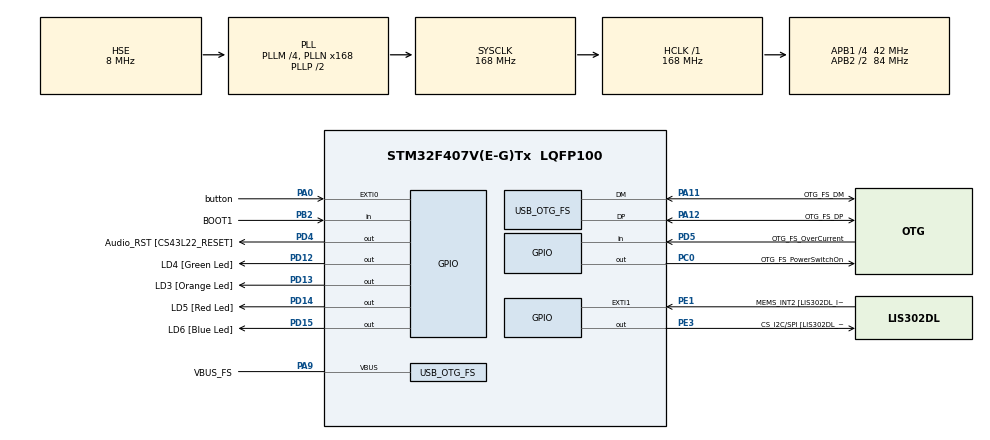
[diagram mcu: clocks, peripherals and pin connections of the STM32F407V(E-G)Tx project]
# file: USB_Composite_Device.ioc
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AL94.I-CUBE-USBD-COMPOSITE.1.0.3.CompositeCcUSBJjCOMPOSITEJjCDCIiACM=true
AL94.I-CUBE-USBD-COMPOSITE.1.0.3.CompositeCcUSBJjCOMPOSITEJjCOMPOSITE=true
AL94.I-CUBE-USBD-COMPOSITE.1.0.3.CompositeCcUSBJjCOMPOSITEJjCore=true
AL94.I-CUBE-USBD-COMPOSITE.1.0.3.CompositeCcUSBJjCOMPOSITEJjHIDIiKEYBOARD=true
AL94.I-CUBE-USBD-COMPOSITE.1.0.3.CompositeCcUSBJjCOMPOSITEJjMSCIiBOT=true
AL94.I-CUBE-USBD-COMPOSITE.1.0.3._USBD_USE_CDC_ACM=true
AL94.I-CUBE-USBD-COMPOSITE.1.0.3._USBD_USE_HID_KEYBOARD=true
AL94.I-CUBE-USBD-COMPOSITE.1.0.3._USBD_USE_MSC=true
AL94.I-CUBE-USBD-COMPOSITE.1.0.3._USBD_USE_PRNTR=false
FATFS._USE_TRIM=1
Mcu.Family=STM32F4
Mcu.Name=STM32F407V(E-G)Tx
Mcu.Package=LQFP100
NVIC.EXTI0_IRQn=true\:0\:0\:false\:false\:true\:true\:true\:true
NVIC.OTG_FS_IRQn=true\:0\:0\:false\:false\:true\:true\:true\:true
NVIC.PriorityGroup=NVIC_PRIORITYGROUP_0
PA0-WKUP.GPIO_Label=button
PA0-WKUP.Signal=GPXTI0
PA10.GPIO_Label=OTG_FS_ID
PA10.GPIO_Mode=GPIO_MODE_AF_PP
PA10.GPIO_PuPd=GPIO_NOPULL
PA10.GPIO_Speed=GPIO_SPEED_FREQ_LOW
PA10.Signal=USB_OTG_FS_ID
PA11.GPIO_Label=OTG_FS_DM
PA11.GPIO_Mode=GPIO_MODE_AF_PP
PA11.GPIO_PuPd=GPIO_NOPULL
PA11.GPIO_Speed=GPIO_SPEED_FREQ_LOW
PA11.Mode=Device_Only
PA11.Signal=USB_OTG_FS_DM
PA12.GPIO_Label=OTG_FS_DP
PA12.GPIO_Mode=GPIO_MODE_AF_PP
PA12.GPIO_PuPd=GPIO_NOPULL
PA12.GPIO_Speed=GPIO_SPEED_FREQ_LOW
PA12.Mode=Device_Only
PA12.Signal=USB_OTG_FS_DP
PA13.GPIO_Label=SWDIO
PA13.Signal=SYS_JTMS-SWDIO
PA14.GPIO_Label=SWCLK
PA14.Signal=SYS_JTCK-SWCLK
PA4.GPIO_Label=I2S3_WS [CS43L22_LRCK]
PA4.GPIO_Mode=GPIO_MODE_AF_PP
PA4.GPIO_PuPd=GPIO_NOPULL
PA4.GPIO_Speed=GPIO_SPEED_FREQ_LOW
PA4.Signal=I2S3_WS
PA5.GPIO_Label=SPI1_SCK [LIS302DL_SCL/SPC]
PA5.GPIO_Mode=GPIO_MODE_AF_PP
PA5.GPIO_PuPd=GPIO_NOPULL
PA5.GPIO_Speed=GPIO_SPEED_FREQ_LOW
PA5.Signal=SPI1_SCK
PA6.GPIO_Label=SPI1_MISO [LIS302DL_SDO]
PA6.GPIO_Mode=GPIO_MODE_AF_PP
PA6.GPIO_PuPd=GPIO_NOPULL
PA6.GPIO_Speed=GPIO_SPEED_FREQ_LOW
PA6.Signal=SPI1_MISO
PA7.GPIO_Label=SPI1_MOSI [LIS302DL_SDA/SDI/SDO]
PA7.GPIO_Mode=GPIO_MODE_AF_PP
PA7.GPIO_PuPd=GPIO_NOPULL
PA7.GPIO_Speed=GPIO_SPEED_FREQ_LOW
PA7.Signal=SPI1_MOSI
PA9.GPIO_Label=VBUS_FS
PA9.GPIO_Mode=GPIO_MODE_INPUT
PA9.GPIO_PuPd=GPIO_NOPULL
PA9.Mode=Activate_VBUS
PA9.Signal=USB_OTG_FS_VBUS
PB10.GPIO_Label=CLK_IN [MP45DT02_CLK]
PB10.GPIO_Mode=GPIO_MODE_AF_PP
PB10.GPIO_PuPd=GPIO_NOPULL
PB10.GPIO_Speed=GPIO_SPEED_FREQ_LOW
PB10.Signal=I2S2_CK
PB2.GPIO_Label=BOOT1
PB2.GPIO_Mode=GPIO_MODE_INPUT
PB2.GPIO_PuPd=GPIO_NOPULL
PB2.Signal=GPIO_Input
PB3.GPIO_Label=SWO
PB3.Signal=SYS_JTDO-SWO
PB6.GPIO_Label=Audio_SCL [CS43L22_SCL]
PB6.GPIO_Mode=GPIO_MODE_AF_OD
PB6.GPIO_PuPd=GPIO_NOPULL
PB6.GPIO_Speed=GPIO_SPEED_FREQ_LOW
PB6.Signal=I2C1_SCL
PB9.GPIO_Label=Audio_SDA [CS43L22_SDA]
PB9.GPIO_Mode=GPIO_MODE_AF_OD
PB9.GPIO_PuPd=GPIO_NOPULL
PB9.GPIO_Speed=GPIO_SPEED_FREQ_LOW
PB9.Signal=I2C1_SDA
PC0.GPIO_Label=OTG_FS_PowerSwitchOn
PC0.GPIO_PuPd=GPIO_NOPULL
PC0.GPIO_Speed=GPIO_SPEED_FREQ_LOW
PC0.PinState=GPIO_PIN_SET
PC0.Signal=GPIO_Output
PC10.GPIO_Label=I2S3_SCK [CS43L22_SCLK]
PC10.GPIO_Mode=GPIO_MODE_AF_PP
PC10.GPIO_PuPd=GPIO_NOPULL
PC10.GPIO_Speed=GPIO_SPEED_FREQ_LOW
PC10.Signal=I2S3_CK
PC12.GPIO_Label=I2S3_SD [CS43L22_SDIN]
PC12.GPIO_Mode=GPIO_MODE_AF_PP
PC12.GPIO_PuPd=GPIO_NOPULL
PC12.GPIO_Speed=GPIO_SPEED_FREQ_LOW
PC12.Signal=I2S3_SD
PC14-OSC32_IN.GPIO_Label=PC14-OSC32_IN
PC14-OSC32_IN.Signal=RCC_OSC32_IN
PC15-OSC32_OUT.GPIO_Label=PC15-OSC32_OUT
PC15-OSC32_OUT.Signal=RCC_OSC32_OUT
PC3.GPIO_Label=PDM_OUT [MP45DT02_DOUT]
PC3.GPIO_Mode=GPIO_MODE_AF_PP
PC3.GPIO_PuPd=GPIO_NOPULL
PC3.GPIO_Speed=GPIO_SPEED_FREQ_LOW
PC3.Signal=I2S2_SD
PC7.GPIO_Label=I2S3_MCK [CS43L22_MCLK]
PC7.GPIO_Mode=GPIO_MODE_AF_PP
PC7.GPIO_PuPd=GPIO_NOPULL
PC7.GPIO_Speed=GPIO_SPEED_FREQ_LOW
PC7.Signal=I2S3_MCK
PD12.GPIO_Label=LD4 [Green Led]
PD12.GPIO_PuPd=GPIO_NOPULL
PD12.GPIO_Speed=GPIO_SPEED_FREQ_LOW
PD12.Signal=GPIO_Output
PD13.GPIO_Label=LD3 [Orange Led]
PD13.GPIO_PuPd=GPIO_NOPULL
PD13.GPIO_Speed=GPIO_SPEED_FREQ_LOW
PD13.Signal=GPIO_Output
PD14.GPIO_Label=LD5 [Red Led]
PD14.GPIO_PuPd=GPIO_NOPULL
PD14.GPIO_Speed=GPIO_SPEED_FREQ_LOW
PD14.Signal=GPIO_Output
PD15.GPIO_Label=LD6 [Blue Led]
PD15.GPIO_PuPd=GPIO_NOPULL
PD15.GPIO_Speed=GPIO_SPEED_FREQ_LOW
PD15.Signal=GPIO_Output
PD4.GPIO_Label=Audio_RST [CS43L22_RESET]
PD4.GPIO_PuPd=GPIO_NOPULL
PD4.GPIO_Speed=GPIO_SPEED_FREQ_LOW
PD4.Signal=GPIO_Output
PD5.GPIO_Label=OTG_FS_OverCurrent
PD5.GPIO_Mode=GPIO_MODE_INPUT
PD5.GPIO_PuPd=GPIO_NOPULL
PD5.Signal=GPIO_Input
PE1.GPIO_Label=MEMS_INT2 [LIS302DL_INT2]
PE1.GPIO_ModeDefaultEXTI=GPIO_MODE_EVT_RISING
PE1.GPIO_PuPd=GPIO_NOPULL
PE1.Signal=GPXTI1
PE3.GPIO_Label=CS_I2C/SPI [LIS302DL_CS_I2C/SPI]
PE3.GPIO_PuPd=GPIO_NOPULL
PE3.GPIO_Speed=GPIO_SPEED_FREQ_LOW
PE3.Signal=GPIO_Output
PH0-OSC_IN.GPIO_Label=PH0-OSC_IN
PH0-OSC_IN.Mode=HSE-External-Clock-Source
PH0-OSC_IN.Signal=RCC_OSC_IN
PH1-OSC_OUT.GPIO_Label=PH1-OSC_OUT
PH1-OSC_OUT.Mode=HSE-External-Clock-Source
PH1-OSC_OUT.Signal=RCC_OSC_OUT
ProjectManager.HeapSize=0x200
ProjectManager.StackSize=0x400
ProjectManager.TargetToolchain=STM32CubeIDE
RCC.48MHZClocksFreq_Value=48000000
RCC.AHBFreq_Value=168000000
RCC.APB1CLKDivider=RCC_HCLK_DIV4
RCC.APB1Freq_Value=42000000
RCC.APB1TimFreq_Value=84000000
RCC.APB2CLKDivider=RCC_HCLK_DIV2
RCC.APB2Freq_Value=84000000
RCC.APB2TimFreq_Value=168000000
RCC.CortexFreq_Value=168000000
RCC.HCLKFreq_Value=168000000
RCC.HSE_VALUE=8000000
RCC.HSI_VALUE=16000000
RCC.LSE_VALUE=32768
RCC.PLLM=4
RCC.PLLN=168
RCC.PLLQ=7
RCC.SYSCLKFreq_VALUE=168000000
RCC.SYSCLKSource=RCC_SYSCLKSOURCE_PLLCLK
RCC.VCOOutputFreq_Value=336000000
USB_OTG_FS.VirtualMode=Device_Only
VP_AL94.I-CUBE-USBD-COMPOSITE_VS_USBJjComposite_1.0.0_1.0.3.Mode=USBJjComposite
VP_FATFS_VS_Generic.Mode=User_defined
board=STM32F407G-DISC1

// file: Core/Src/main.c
/* USER CODE BEGIN Header */
/**
 ******************************************************************************
 * @file           : main.c
 * @brief          : Main program body
 ******************************************************************************
 * @attention
 *
 * Copyright (c) 2024 STMicroelectronics.
 * All rights reserved.
 *
 * This software is licensed under terms that can be found in the LICENSE file
 * in the root directory of this software component.
 * If no LICENSE file comes with this software, it is provided AS-IS.
 *
 ******************************************************************************
 */
/* USER CODE END Header */
#include "main.h"
#include "fatfs.h"
#include "usb_otg.h"
#include "gpio.h"

/* USER CODE BEGIN Includes */
#pragma once

#include "usb_device.h"
#include "my_usbd_hid_keyboard.h"
#include "my_usbd_msc_if.h"
#include "usbd_cdc_acm_if.h"

#include "UI_functions.h"
#include "my_flash.h"
/* USER CODE END Includes */

/* USER CODE BEGIN PV */
extern uint8_t message;
extern uint8_t usb_RX_Buff[];

static uint8_t command; // command from VCP
static uint8_t start = 0; // flag for login
volatile uint8_t button = 1; // flag for user push button
/* USER CODE END PV */

void SystemClock_Config(void);

/* USER CODE BEGIN 0 */
void HAL_GPIO_EXTI_Callback(uint16_t GPIO_Pin) {
	button = 0; // we signal the button press
}
/* USER CODE END 0 */

int main(void)
{

  /* MCU Configuration--------------------------------------------------------*/

  /* Reset of all peripherals, Initializes the Flash interface and the Systick. */
  HAL_Init();

  /* Configure the system clock */
  SystemClock_Config();

  /* Initialize all configured peripherals */
  MX_GPIO_Init();
  MX_USB_OTG_FS_PCD_Init();
  MX_FATFS_Init();
  /* USER CODE BEGIN 2 */
  MX_USB_DEVICE_Init();

  /* USER CODE END 2 */

  /* Infinite loop */
	while (1) {

    /* USER CODE BEGIN 3 */

		if (message) {
			message = 0; // message received
			command = usb_RX_Buff[0];

			if (!start) {
				if (Start_Device() == OK){
					Transmit("\n\rDefault language is Hungarian.");
					List_all_commands();
					start++;
				}
			} else
				switch (command) {
				case 'r':
					Reset();
					break;
				case 'e':
					Enter_password();
					break;
				case 'l':
					List_all_commands();
					break;
				case 'k':
					Change_keyboard_language();
					break;
				default:
					Transmit("\n\rError: Invalid command!\n\r");
				}
		}

	}
  /* USER CODE END 3 */
}

void SystemClock_Config(void)
{
  RCC_OscInitTypeDef RCC_OscInitStruct = {0};
  RCC_ClkInitTypeDef RCC_ClkInitStruct = {0};

  /** Configure the main internal regulator output voltage
  */
  __HAL_RCC_PWR_CLK_ENABLE();
  __HAL_PWR_VOLTAGESCALING_CONFIG(PWR_REGULATOR_VOLTAGE_SCALE1);

  /** Initializes the RCC Oscillators according to the specified parameters
  * in the RCC_OscInitTypeDef structure.
  */
  RCC_OscInitStruct.OscillatorType = RCC_OSCILLATORTYPE_HSE;
  RCC_OscInitStruct.HSEState = RCC_HSE_BYPASS;
  RCC_OscInitStruct.PLL.PLLState = RCC_PLL_ON;
  RCC_OscInitStruct.PLL.PLLSource = RCC_PLLSOURCE_HSE;
  RCC_OscInitStruct.PLL.PLLM = 4;
  RCC_OscInitStruct.PLL.PLLN = 168;
  RCC_OscInitStruct.PLL.PLLP = RCC_PLLP_DIV2;
  RCC_OscInitStruct.PLL.PLLQ = 7;
  if (HAL_RCC_OscConfig(&RCC_OscInitStruct) != HAL_OK)
  {
    Error_Handler();
  }

  /** Initializes the CPU, AHB and APB buses clocks
  */
  RCC_ClkInitStruct.ClockType = RCC_CLOCKTYPE_HCLK|RCC_CLOCKTYPE_SYSCLK
                              |RCC_CLOCKTYPE_PCLK1|RCC_CLOCKTYPE_PCLK2;
  RCC_ClkInitStruct.SYSCLKSource = RCC_SYSCLKSOURCE_PLLCLK;
  RCC_ClkInitStruct.AHBCLKDivider = RCC_SYSCLK_DIV1;
  RCC_ClkInitStruct.APB1CLKDivider = RCC_HCLK_DIV4;
  RCC_ClkInitStruct.APB2CLKDivider = RCC_HCLK_DIV2;

  if (HAL_RCC_ClockConfig(&RCC_ClkInitStruct, FLASH_LATENCY_5) != HAL_OK)
  {
    Error_Handler();
  }
}

void Error_Handler(void)
{
	__disable_irq();
	while (1) {
	}
}
